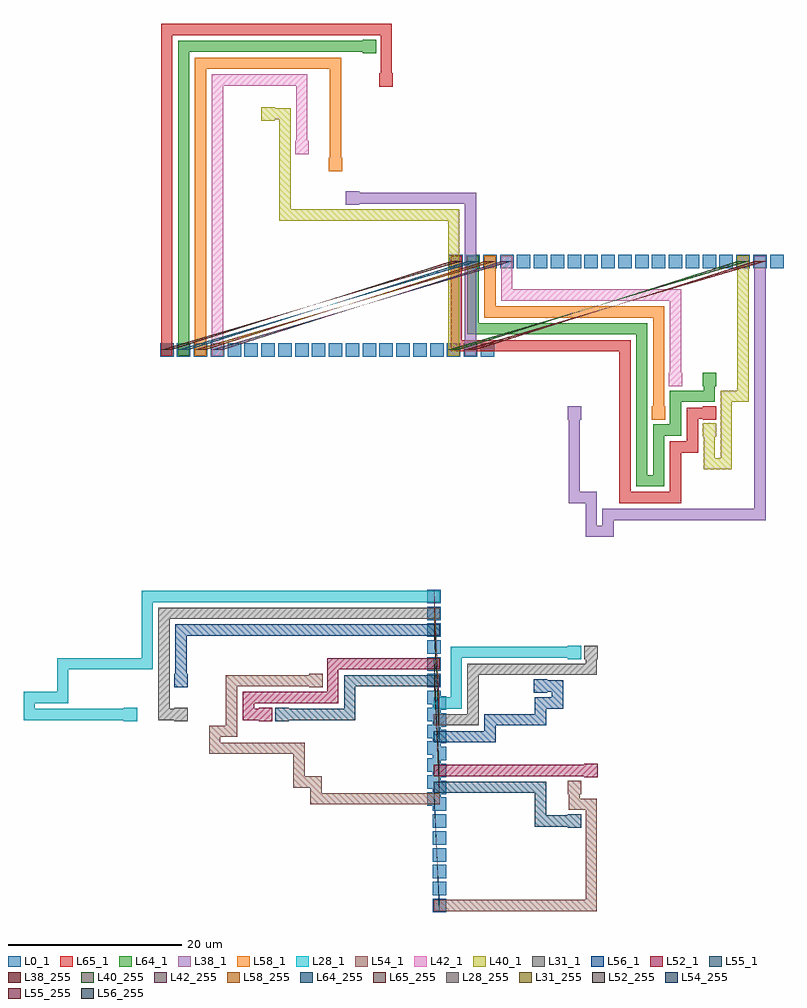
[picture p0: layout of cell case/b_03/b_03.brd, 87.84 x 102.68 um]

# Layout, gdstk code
import gdstk
lib = gdstk.Library(unit=1e-6, precision=2.5e-10)
def R(c, l, rs):  # rectangles x0, y0, x1, y1
    for r in rs: c.add(gdstk.rectangle(r[:2], r[2:], *l))
def A(c, l, x, y, w, h, nx, ny, dx, dy):  # array of equal rectangles
    R(c, l, [(x+i*dx, y+j*dy, x+i*dx+w, y+j*dy+h) for i in range(nx) for j in range(ny)])
def P(c, l, *ps):  # polygons
    for p in ps: c.add(gdstk.Polygon(p, *l))
L0_1 = (0, 1)
L28_1 = (28, 1)
L28_255 = (28, 255)
L31_1 = (31, 1)
L31_255 = (31, 255)
L38_1 = (38, 1)
L38_255 = (38, 255)
L40_1 = (40, 1)
L40_255 = (40, 255)
L42_1 = (42, 1)
L42_255 = (42, 255)
L52_1 = (52, 1)
L52_255 = (52, 255)
L54_1 = (54, 1)
L54_255 = (54, 255)
L55_1 = (55, 1)
L55_255 = (55, 255)
L56_1 = (56, 1)
L56_255 = (56, 255)
L58_1 = (58, 1)
L58_255 = (58, 255)
L64_1 = (64, 1)
L64_255 = (64, 255)
L65_1 = (65, 1)
L65_255 = (65, 255)

case_b_03_b_03_brd = lib.new_cell('case/b_03/b_03.brd')
R(case_b_03_b_03_brd, L0_1, [(90.874,399.122,92.434,400.682), (90.874,399.122,92.434,400.682), (90.874,399.122,92.434,400.682), (90.874,399.122,92.434,400.682), (90.874,399.122,92.434,400.682), (90.874,399.122,92.434,400.682), (90.874,401.072,92.434,402.632), (90.874,401.072,92.434,402.632), (90.874,401.072,92.434,402.632), (90.874,401.072,92.434,402.632), (90.874,401.072,92.434,402.632), (90.874,401.072,92.434,402.632), (90.874,403.022,92.434,404.582), (90.874,403.022,92.434,404.582), (90.874,403.022,92.434,404.582), (90.874,403.022,92.434,404.582), (90.874,403.022,92.434,404.582), (90.874,403.022,92.434,404.582), (90.874,404.972,92.434,406.532), (90.874,404.972,92.434,406.532), (90.874,404.972,92.434,406.532), (90.874,404.972,92.434,406.532), (90.874,404.972,92.434,406.532), (90.874,404.972,92.434,406.532), (90.874,406.922,92.434,408.482), (90.874,406.922,92.434,408.482), (90.874,406.922,92.434,408.482), (90.874,406.922,92.434,408.482), (90.874,406.922,92.434,408.482), (90.874,406.922,92.434,408.482), (90.874,408.872,92.434,410.432), (90.874,408.872,92.434,410.432), (90.874,408.872,92.434,410.432), (90.874,408.872,92.434,410.432), (90.874,408.872,92.434,410.432), (90.874,408.872,92.434,410.432), (90.874,410.822,92.434,412.382), (90.874,410.822,92.434,412.382), (90.874,410.822,92.434,412.382), (90.874,410.822,92.434,412.382), (90.874,410.822,92.434,412.382), (90.874,410.822,92.434,412.382), (90.269,411.443,91.829,413.003), (90.269,411.443,91.829,413.003), (90.269,411.443,91.829,413.003), (90.269,411.443,91.829,413.003), (90.269,411.443,91.829,413.003), (90.269,411.443,91.829,413.003), (90.874,412.772,92.434,414.332), (90.874,412.772,92.434,414.332), (90.874,412.772,92.434,414.332), (90.874,412.772,92.434,414.332), (90.874,412.772,92.434,414.332), (90.874,412.772,92.434,414.332), (90.269,413.393,91.829,414.953), (90.269,413.393,91.829,414.953), (90.269,413.393,91.829,414.953), (90.269,413.393,91.829,414.953), (90.269,413.393,91.829,414.953), (90.269,413.393,91.829,414.953), (90.874,414.722,92.434,416.282), (90.874,414.722,92.434,416.282), (90.874,414.722,92.434,416.282), (90.874,414.722,92.434,416.282), (90.874,414.722,92.434,416.282), (90.874,414.722,92.434,416.282), (90.269,415.343,91.829,416.903), (90.269,415.343,91.829,416.903), (90.269,415.343,91.829,416.903), (90.269,415.343,91.829,416.903), (90.269,415.343,91.829,416.903), (90.269,415.343,91.829,416.903), (90.874,416.672,92.434,418.232), (90.874,416.672,92.434,418.232), (90.874,416.672,92.434,418.232), (90.874,416.672,92.434,418.232), (90.874,416.672,92.434,418.232), (90.874,416.672,92.434,418.232), (90.269,417.293,91.829,418.853), (90.269,417.293,91.829,418.853), (90.269,417.293,91.829,418.853), (90.269,417.293,91.829,418.853), (90.269,417.293,91.829,418.853), (90.269,417.293,91.829,418.853), (90.874,418.622,92.434,420.182), (90.874,418.622,92.434,420.182), (90.874,418.622,92.434,420.182), (90.874,418.622,92.434,420.182), (90.874,418.622,92.434,420.182), (90.874,418.622,92.434,420.182), (90.269,419.243,91.829,420.803), (90.269,419.243,91.829,420.803), (90.269,419.243,91.829,420.803), (90.269,419.243,91.829,420.803), (90.269,419.243,91.829,420.803), (90.269,419.243,91.829,420.803), (90.874,420.572,92.434,422.132), (90.874,420.572,92.434,422.132), (90.874,420.572,92.434,422.132), (90.874,420.572,92.434,422.132), (90.874,420.572,92.434,422.132), (90.874,420.572,92.434,422.132), (90.269,421.193,91.829,422.753), (90.269,421.193,91.829,422.753), (90.269,421.193,91.829,422.753), (90.269,421.193,91.829,422.753), (90.269,421.193,91.829,422.753), (90.269,421.193,91.829,422.753), (90.874,422.522,92.434,424.082), (90.874,422.522,92.434,424.082), (90.874,422.522,92.434,424.082), (90.874,422.522,92.434,424.082), (90.874,422.522,92.434,424.082), (90.874,422.522,92.434,424.082), (90.269,423.143,91.829,424.703), (90.269,423.143,91.829,424.703), (90.269,423.143,91.829,424.703), (90.269,423.143,91.829,424.703), (90.269,423.143,91.829,424.703), (90.269,423.143,91.829,424.703), (90.269,425.093,91.829,426.653), (90.269,425.093,91.829,426.653), (90.269,425.093,91.829,426.653), (90.269,425.093,91.829,426.653), (90.269,425.093,91.829,426.653), (90.269,425.093,91.829,426.653), (90.269,427.043,91.829,428.603), (90.269,427.043,91.829,428.603), (90.269,427.043,91.829,428.603), (90.269,427.043,91.829,428.603), (90.269,427.043,91.829,428.603), (90.269,427.043,91.829,428.603), (90.269,428.993,91.829,430.553), (90.269,428.993,91.829,430.553), (90.269,428.993,91.829,430.553), (90.269,428.993,91.829,430.553), (90.269,428.993,91.829,430.553), (90.269,428.993,91.829,430.553), (90.269,430.943,91.829,432.503), (90.269,430.943,91.829,432.503), (90.269,430.943,91.829,432.503), (90.269,430.943,91.829,432.503), (90.269,430.943,91.829,432.503), (90.269,430.943,91.829,432.503), (90.269,432.893,91.829,434.453), (90.269,432.893,91.829,434.453), (90.269,432.893,91.829,434.453), (90.269,432.893,91.829,434.453), (90.269,432.893,91.829,434.453), (90.269,432.893,91.829,434.453), (90.269,434.843,91.829,436.403), (90.269,434.843,91.829,436.403), (90.269,434.843,91.829,436.403), (90.269,434.843,91.829,436.403), (90.269,434.843,91.829,436.403), (90.269,434.843,91.829,436.403), (59.383,463.318,60.943,464.878), (59.383,463.318,60.943,464.878), (59.383,463.318,60.943,464.878), (59.383,463.318,60.943,464.878), (59.383,463.318,60.943,464.878), (59.383,463.318,60.943,464.878), (61.333,463.318,62.893,464.878), (61.333,463.318,62.893,464.878), (61.333,463.318,62.893,464.878), (61.333,463.318,62.893,464.878), (61.333,463.318,62.893,464.878), (61.333,463.318,62.893,464.878), (63.283,463.318,64.843,464.878), (63.283,463.318,64.843,464.878), (63.283,463.318,64.843,464.878), (63.283,463.318,64.843,464.878), (63.283,463.318,64.843,464.878), (63.283,463.318,64.843,464.878), (65.233,463.318,66.793,464.878), (65.233,463.318,66.793,464.878), (65.233,463.318,66.793,464.878), (65.233,463.318,66.793,464.878), (65.233,463.318,66.793,464.878), (65.233,463.318,66.793,464.878), (67.183,463.318,68.743,464.878), (67.183,463.318,68.743,464.878), (67.183,463.318,68.743,464.878), (67.183,463.318,68.743,464.878), (67.183,463.318,68.743,464.878), (67.183,463.318,68.743,464.878), (69.133,463.318,70.693,464.878), (69.133,463.318,70.693,464.878), (69.133,463.318,70.693,464.878), (69.133,463.318,70.693,464.878), (69.133,463.318,70.693,464.878), (69.133,463.318,70.693,464.878), (71.083,463.318,72.643,464.878), (71.083,463.318,72.643,464.878), (71.083,463.318,72.643,464.878), (71.083,463.318,72.643,464.878), (71.083,463.318,72.643,464.878), (71.083,463.318,72.643,464.878), (73.033,463.318,74.593,464.878), (73.033,463.318,74.593,464.878), (73.033,463.318,74.593,464.878), (73.033,463.318,74.593,464.878), (73.033,463.318,74.593,464.878), (73.033,463.318,74.593,464.878), (74.983,463.318,76.543,464.878), (74.983,463.318,76.543,464.878), (74.983,463.318,76.543,464.878), (74.983,463.318,76.543,464.878), (74.983,463.318,76.543,464.878), (74.983,463.318,76.543,464.878), (76.933,463.318,78.493,464.878), (76.933,463.318,78.493,464.878), (76.933,463.318,78.493,464.878), (76.933,463.318,78.493,464.878), (76.933,463.318,78.493,464.878), (76.933,463.318,78.493,464.878), (78.883,463.318,80.443,464.878), (78.883,463.318,80.443,464.878), (78.883,463.318,80.443,464.878), (78.883,463.318,80.443,464.878), (78.883,463.318,80.443,464.878), (78.883,463.318,80.443,464.878), (80.833,463.318,82.393,464.878), (80.833,463.318,82.393,464.878), (80.833,463.318,82.393,464.878), (80.833,463.318,82.393,464.878), (80.833,463.318,82.393,464.878), (80.833,463.318,82.393,464.878), (82.783,463.318,84.343,464.878), (82.783,463.318,84.343,464.878), (82.783,463.318,84.343,464.878), (82.783,463.318,84.343,464.878), (82.783,463.318,84.343,464.878), (82.783,463.318,84.343,464.878), (84.733,463.318,86.293,464.878), (84.733,463.318,86.293,464.878), (84.733,463.318,86.293,464.878), (84.733,463.318,86.293,464.878), (84.733,463.318,86.293,464.878), (84.733,463.318,86.293,464.878), (86.683,463.318,88.243,464.878), (86.683,463.318,88.243,464.878), (86.683,463.318,88.243,464.878), (86.683,463.318,88.243,464.878), (86.683,463.318,88.243,464.878), (86.683,463.318,88.243,464.878), (88.633,463.318,90.193,464.878), (88.633,463.318,90.193,464.878), (88.633,463.318,90.193,464.878), (88.633,463.318,90.193,464.878), (88.633,463.318,90.193,464.878), (88.633,463.318,90.193,464.878), (90.583,463.318,92.143,464.878), (90.583,463.318,92.143,464.878), (90.583,463.318,92.143,464.878), (90.583,463.318,92.143,464.878), (90.583,463.318,92.143,464.878), (90.583,463.318,92.143,464.878), (92.533,463.318,94.093,464.878), (92.533,463.318,94.093,464.878), (92.533,463.318,94.093,464.878), (92.533,463.318,94.093,464.878), (92.533,463.318,94.093,464.878), (92.533,463.318,94.093,464.878), (94.483,463.318,96.043,464.878), (94.483,463.318,96.043,464.878), (94.483,463.318,96.043,464.878), (94.483,463.318,96.043,464.878), (94.483,463.318,96.043,464.878), (94.483,463.318,96.043,464.878), (96.433,463.318,97.993,464.878), (96.433,463.318,97.993,464.878), (96.433,463.318,97.993,464.878), (96.433,463.318,97.993,464.878), (96.433,463.318,97.993,464.878), (96.433,463.318,97.993,464.878), (92.824,473.566,94.384,475.126), (92.824,473.566,94.384,475.126), (92.824,473.566,94.384,475.126), (92.824,473.566,94.384,475.126), (92.824,473.566,94.384,475.126), (92.824,473.566,94.384,475.126), (94.774,473.566,96.334,475.126), (94.774,473.566,96.334,475.126), (94.774,473.566,96.334,475.126), (94.774,473.566,96.334,475.126), (94.774,473.566,96.334,475.126), (94.774,473.566,96.334,475.126), (96.724,473.566,98.284,475.126), (96.724,473.566,98.284,475.126), (96.724,473.566,98.284,475.126), (96.724,473.566,98.284,475.126), (96.724,473.566,98.284,475.126), (96.724,473.566,98.284,475.126), (98.674,473.566,100.234,475.126), (98.674,473.566,100.234,475.126), (98.674,473.566,100.234,475.126), (98.674,473.566,100.234,475.126), (98.674,473.566,100.234,475.126), (98.674,473.566,100.234,475.126), (100.624,473.566,102.184,475.126), (100.624,473.566,102.184,475.126), (100.624,473.566,102.184,475.126), (100.624,473.566,102.184,475.126), (100.624,473.566,102.184,475.126), (100.624,473.566,102.184,475.126), (102.574,473.566,104.134,475.126), (102.574,473.566,104.134,475.126), (102.574,473.566,104.134,475.126), (102.574,473.566,104.134,475.126), (102.574,473.566,104.134,475.126), (102.574,473.566,104.134,475.126), (104.524,473.566,106.084,475.126), (104.524,473.566,106.084,475.126), (104.524,473.566,106.084,475.126), (104.524,473.566,106.084,475.126), (104.524,473.566,106.084,475.126), (104.524,473.566,106.084,475.126), (106.474,473.566,108.034,475.126), (106.474,473.566,108.034,475.126), (106.474,473.566,108.034,475.126), (106.474,473.566,108.034,475.126), (106.474,473.566,108.034,475.126), (106.474,473.566,108.034,475.126), (108.424,473.566,109.984,475.126), (108.424,473.566,109.984,475.126), (108.424,473.566,109.984,475.126), (108.424,473.566,109.984,475.126), (108.424,473.566,109.984,475.126), (108.424,473.566,109.984,475.126), (110.374,473.566,111.934,475.126), (110.374,473.566,111.934,475.126), (110.374,473.566,111.934,475.126), (110.374,473.566,111.934,475.126), (110.374,473.566,111.934,475.126), (110.374,473.566,111.934,475.126), (112.324,473.566,113.884,475.126), (112.324,473.566,113.884,475.126), (112.324,473.566,113.884,475.126), (112.324,473.566,113.884,475.126), (112.324,473.566,113.884,475.126), (112.324,473.566,113.884,475.126), (114.274,473.566,115.834,475.126), (114.274,473.566,115.834,475.126), (114.274,473.566,115.834,475.126), (114.274,473.566,115.834,475.126), (114.274,473.566,115.834,475.126), (114.274,473.566,115.834,475.126), (116.224,473.566,117.784,475.126), (116.224,473.566,117.784,475.126), (116.224,473.566,117.784,475.126), (116.224,473.566,117.784,475.126), (116.224,473.566,117.784,475.126), (116.224,473.566,117.784,475.126), (118.174,473.566,119.734,475.126), (118.174,473.566,119.734,475.126), (118.174,473.566,119.734,475.126), (118.174,473.566,119.734,475.126), (118.174,473.566,119.734,475.126), (118.174,473.566,119.734,475.126), (120.124,473.566,121.684,475.126), (120.124,473.566,121.684,475.126), (120.124,473.566,121.684,475.126), (120.124,473.566,121.684,475.126), (120.124,473.566,121.684,475.126), (120.124,473.566,121.684,475.126), (122.074,473.566,123.634,475.126), (122.074,473.566,123.634,475.126), (122.074,473.566,123.634,475.126), (122.074,473.566,123.634,475.126), (122.074,473.566,123.634,475.126), (122.074,473.566,123.634,475.126), (124.024,473.566,125.584,475.126), (124.024,473.566,125.584,475.126), (124.024,473.566,125.584,475.126), (124.024,473.566,125.584,475.126), (124.024,473.566,125.584,475.126), (124.024,473.566,125.584,475.126), (125.974,473.566,127.534,475.126), (125.974,473.566,127.534,475.126), (125.974,473.566,127.534,475.126), (125.974,473.566,127.534,475.126), (125.974,473.566,127.534,475.126), (125.974,473.566,127.534,475.126), (127.924,473.566,129.484,475.126), (127.924,473.566,129.484,475.126), (127.924,473.566,129.484,475.126), (127.924,473.566,129.484,475.126), (127.924,473.566,129.484,475.126), (127.924,473.566,129.484,475.126), (129.874,473.566,131.434,475.126), (129.874,473.566,131.434,475.126), (129.874,473.566,131.434,475.126), (129.874,473.566,131.434,475.126), (129.874,473.566,131.434,475.126), (129.874,473.566,131.434,475.126)])
A(case_b_03_b_03_brd, L28_1, 43.599, 421.323, 3.25, 1.3, 6, 1, 1.95, 0)
A(case_b_03_b_03_brd, L28_1, 92.954, 422.652, 1.3, 3.25, 1, 3, 0, 1.95)
A(case_b_03_b_03_brd, L28_1, 47.499, 427.173, 3.25, 1.3, 5, 1, 1.95, 0)
A(case_b_03_b_03_brd, L28_1, 57.249, 427.173, 1.3, 3.25, 1, 4, 0, 1.95)
A(case_b_03_b_03_brd, L28_1, 92.954, 428.502, 3.25, 1.3, 7, 1, 1.95, 0)
A(case_b_03_b_03_brd, L28_1, 57.249, 434.973, 3.25, 1.3, 17, 1, 1.95, 0)
R(case_b_03_b_03_brd, L28_1, [(55.169,421.193,56.729,422.753), (43.599,421.323,44.899,424.573), (91.004,422.652,94.254,423.952), (43.599,423.273,46.849,424.573), (45.549,423.273,48.799,424.573), (47.499,423.273,48.799,426.523), (47.499,425.223,48.799,428.473), (106.474,428.372,108.034,429.932)])
P(case_b_03_b_03_brd, L28_255, [(91.654,422.652),(91.654,423.952),(91.049,434.973),(91.049,436.273)])
A(case_b_03_b_03_brd, L31_1, 94.904, 420.702, 1.3, 3.25, 1, 3, 0, 1.95)
A(case_b_03_b_03_brd, L31_1, 59.199, 421.323, 1.3, 3.25, 1, 6, 0, 1.95)
A(case_b_03_b_03_brd, L31_1, 94.904, 426.552, 3.25, 1.3, 7, 1, 1.95, 0)
A(case_b_03_b_03_brd, L31_1, 59.199, 433.023, 3.25, 1.3, 16, 1, 1.95, 0)
R(case_b_03_b_03_brd, L31_1, [(91.004,420.702,94.254,422.002), (92.954,420.702,96.204,422.002), (61.019,421.193,62.579,422.753), (59.199,421.323,62.449,422.623), (108.554,426.552,109.854,429.802), (108.424,428.372,109.984,429.932)])
P(case_b_03_b_03_brd, L31_255, [(91.654,420.702),(91.654,422.002),(91.049,433.023),(91.049,434.323)])
A(case_b_03_b_03_brd, L38_1, 110.504, 444.446, 3.25, 1.3, 9, 1, 1.95, 0)
A(case_b_03_b_03_brd, L38_1, 128.054, 444.446, 1.3, 3.25, 1, 15, 0, 1.95)
A(case_b_03_b_03_brd, L38_1, 106.604, 446.396, 1.3, 3.25, 1, 5, 0, 1.95)
A(case_b_03_b_03_brd, L38_1, 94.613, 463.448, 1.3, 3.25, 1, 9, 0, 1.95)
A(case_b_03_b_03_brd, L38_1, 80.963, 480.998, 3.25, 1.3, 7, 1, 1.95, 0)
R(case_b_03_b_03_brd, L38_1, [(108.554,442.496,111.804,443.796), (108.554,442.496,109.854,445.746), (110.504,442.496,111.804,445.746), (108.554,444.446,109.854,447.696), (106.604,446.396,109.854,447.696), (106.474,456.016,108.034,457.576), (80.833,480.868,82.393,482.428)])
P(case_b_03_b_03_brd, L38_255, [(94.613,464.098),(95.913,464.098),(128.054,474.346),(129.354,474.346)])
A(case_b_03_b_03_brd, L40_1, 124.154, 450.296, 1.3, 3.25, 1, 4, 0, 1.95)
A(case_b_03_b_03_brd, L40_1, 126.104, 458.096, 1.3, 3.25, 1, 8, 0, 1.95)
A(case_b_03_b_03_brd, L40_1, 92.663, 463.448, 1.3, 3.25, 1, 8, 0, 1.95)
A(case_b_03_b_03_brd, L40_1, 73.163, 479.048, 3.25, 1.3, 10, 1, 1.95, 0)
A(case_b_03_b_03_brd, L40_1, 73.163, 479.048, 1.3, 3.25, 1, 6, 0, 1.95)
R(case_b_03_b_03_brd, L40_1, [(122.204,450.296,125.454,451.596), (122.204,450.296,123.504,453.546), (122.204,452.246,123.504,455.496), (122.074,454.066,123.634,455.626), (124.154,458.096,127.404,459.396), (71.083,490.618,72.643,492.178), (71.213,490.748,74.463,492.048)])
P(case_b_03_b_03_brd, L40_255, [(92.663,464.098),(93.963,464.098),(126.104,474.346),(127.404,474.346)])
A(case_b_03_b_03_brd, L42_1, 118.304, 460.046, 1.3, 3.25, 1, 5, 0, 1.95)
A(case_b_03_b_03_brd, L42_1, 65.363, 463.448, 1.3, 3.25, 1, 16, 0, 1.95)
A(case_b_03_b_03_brd, L42_1, 98.804, 469.796, 3.25, 1.3, 10, 1, 1.95, 0)
A(case_b_03_b_03_brd, L42_1, 75.113, 486.848, 1.3, 3.25, 1, 4, 0, 1.95)
A(case_b_03_b_03_brd, L42_1, 65.363, 494.648, 3.25, 1.3, 5, 1, 1.95, 0)
R(case_b_03_b_03_brd, L42_1, [(118.174,459.916,119.734,461.476), (98.804,469.796,100.104,473.046), (98.804,471.746,100.104,474.996), (74.983,486.718,76.543,488.278)])
P(case_b_03_b_03_brd, L42_255, [(65.363,464.098),(66.663,464.098),(98.804,474.346),(100.104,474.346)])
A(case_b_03_b_03_brd, L52_1, 91.004, 414.852, 3.25, 1.3, 9, 1, 1.95, 0)
A(case_b_03_b_03_brd, L52_1, 68.949, 423.273, 3.25, 1.3, 5, 1, 1.95, 0)
A(case_b_03_b_03_brd, L52_1, 78.699, 427.173, 3.25, 1.3, 6, 1, 1.95, 0)
R(case_b_03_b_03_brd, L52_1, [(108.424,414.722,109.984,416.282), (70.769,421.193,72.329,422.753), (68.949,421.323,72.199,422.623), (68.949,421.323,70.249,424.573), (78.699,423.273,79.999,426.523), (78.699,425.223,79.999,428.473)])
P(case_b_03_b_03_brd, L52_255, [(91.654,414.852),(91.654,416.152),(91.049,427.173),(91.049,428.473)])
A(case_b_03_b_03_brd, L54_1, 91.004, 399.252, 3.25, 1.3, 9, 1, 1.95, 0)
A(case_b_03_b_03_brd, L54_1, 108.554, 399.252, 1.3, 3.25, 1, 6, 0, 1.95)
A(case_b_03_b_03_brd, L54_1, 76.749, 411.573, 3.25, 1.3, 7, 1, 1.95, 0)
A(case_b_03_b_03_brd, L54_1, 65.049, 417.423, 3.25, 1.3, 5, 1, 1.95, 0)
A(case_b_03_b_03_brd, L54_1, 66.999, 419.373, 1.3, 3.25, 1, 3, 0, 1.95)
A(case_b_03_b_03_brd, L54_1, 66.999, 425.223, 3.25, 1.3, 5, 1, 1.95, 0)
R(case_b_03_b_03_brd, L54_1, [(106.604,410.952,109.854,412.252), (106.604,410.952,107.904,414.202), (76.749,411.573,78.049,414.823), (106.474,412.772,108.034,414.332), (74.799,413.523,78.049,414.823), (74.799,413.523,76.099,416.773), (74.799,415.473,76.099,418.723), (65.049,417.423,66.349,420.673), (65.049,419.373,68.299,420.673), (76.619,425.093,78.179,426.653)])
P(case_b_03_b_03_brd, L54_255, [(91.654,399.252),(91.654,400.552),(91.049,411.573),(91.049,412.873)])
A(case_b_03_b_03_brd, L55_1, 91.004, 412.902, 3.25, 1.3, 6, 1, 1.95, 0)
A(case_b_03_b_03_brd, L55_1, 72.849, 421.323, 3.25, 1.3, 4, 1, 1.95, 0)
A(case_b_03_b_03_brd, L55_1, 80.649, 425.223, 3.25, 1.3, 5, 1, 1.95, 0)
R(case_b_03_b_03_brd, L55_1, [(106.474,408.872,108.034,410.432), (102.704,409.002,105.954,410.302), (102.704,409.002,104.004,412.252), (104.654,409.002,107.904,410.302), (102.704,410.952,104.004,414.202), (72.719,421.193,74.279,422.753), (80.649,421.323,81.949,424.573), (80.649,423.273,81.949,426.523)])
P(case_b_03_b_03_brd, L55_255, [(91.654,412.902),(91.654,414.202),(91.049,425.223),(91.049,426.523)])
A(case_b_03_b_03_brd, L56_1, 91.004, 418.752, 3.25, 1.3, 3, 1, 1.95, 0)
A(case_b_03_b_03_brd, L56_1, 96.854, 420.702, 3.25, 1.3, 3, 1, 1.95, 0)
A(case_b_03_b_03_brd, L56_1, 61.149, 425.223, 1.3, 3.25, 1, 3, 0, 1.95)
A(case_b_03_b_03_brd, L56_1, 61.149, 431.073, 3.25, 1.3, 15, 1, 1.95, 0)
R(case_b_03_b_03_brd, L56_1, [(96.854,418.752,98.154,422.002), (102.704,420.702,104.004,423.952), (102.704,422.652,105.954,423.952), (104.654,422.652,105.954,425.902), (102.574,424.472,104.134,426.032), (102.704,424.602,105.954,425.902), (61.019,425.093,62.579,426.653)])
P(case_b_03_b_03_brd, L56_255, [(91.654,418.752),(91.654,420.052),(91.049,431.073),(91.049,432.373)])
A(case_b_03_b_03_brd, L58_1, 116.354, 456.146, 1.3, 3.25, 1, 6, 0, 1.95)
A(case_b_03_b_03_brd, L58_1, 63.413, 463.448, 1.3, 3.25, 1, 17, 0, 1.95)
A(case_b_03_b_03_brd, L58_1, 96.854, 467.846, 3.25, 1.3, 10, 1, 1.95, 0)
A(case_b_03_b_03_brd, L58_1, 96.854, 467.846, 1.3, 3.25, 1, 3, 0, 1.95)
A(case_b_03_b_03_brd, L58_1, 79.013, 484.898, 1.3, 3.25, 1, 6, 0, 1.95)
A(case_b_03_b_03_brd, L58_1, 63.413, 496.598, 3.25, 1.3, 8, 1, 1.95, 0)
R(case_b_03_b_03_brd, L58_1, [(116.224,456.016,117.784,457.576), (78.883,484.768,80.443,486.328)])
P(case_b_03_b_03_brd, L58_255, [(63.413,464.098),(64.713,464.098),(96.854,474.346),(98.154,474.346)])
A(case_b_03_b_03_brd, L64_1, 114.404, 448.346, 1.3, 3.25, 1, 9, 0, 1.95)
A(case_b_03_b_03_brd, L64_1, 116.354, 448.346, 1.3, 3.25, 1, 3, 0, 1.95)
A(case_b_03_b_03_brd, L64_1, 61.463, 463.448, 1.3, 3.25, 1, 18, 0, 1.95)
A(case_b_03_b_03_brd, L64_1, 94.904, 465.896, 3.25, 1.3, 10, 1, 1.95, 0)
A(case_b_03_b_03_brd, L64_1, 94.904, 465.896, 1.3, 3.25, 1, 4, 0, 1.95)
A(case_b_03_b_03_brd, L64_1, 61.463, 498.548, 3.25, 1.3, 11, 1, 1.95, 0)
R(case_b_03_b_03_brd, L64_1, [(114.404,448.346,117.654,449.646), (116.354,454.196,119.604,455.496), (118.304,454.196,119.604,457.446), (118.304,456.146,119.604,459.396), (118.304,458.096,121.554,459.396), (120.254,458.096,123.504,459.396), (122.204,458.096,123.504,461.346), (122.074,459.916,123.634,461.476), (82.783,498.418,84.343,499.978)])
P(case_b_03_b_03_brd, L64_255, [(61.463,464.098),(62.763,464.098),(94.904,474.346),(96.204,474.346)])
A(case_b_03_b_03_brd, L65_1, 112.454, 446.396, 3.25, 1.3, 3, 1, 1.95, 0)
A(case_b_03_b_03_brd, L65_1, 112.454, 446.396, 1.3, 3.25, 1, 9, 0, 1.95)
A(case_b_03_b_03_brd, L65_1, 118.304, 446.396, 1.3, 3.25, 1, 3, 0, 1.95)
A(case_b_03_b_03_brd, L65_1, 59.513, 463.448, 1.3, 3.25, 1, 19, 0, 1.95)
A(case_b_03_b_03_brd, L65_1, 92.954, 463.946, 3.25, 1.3, 10, 1, 1.95, 0)
A(case_b_03_b_03_brd, L65_1, 92.954, 463.946, 1.3, 3.25, 1, 5, 0, 1.95)
A(case_b_03_b_03_brd, L65_1, 84.863, 494.648, 1.3, 3.25, 1, 3, 0, 1.95)
A(case_b_03_b_03_brd, L65_1, 59.513, 500.498, 3.25, 1.3, 13, 1, 1.95, 0)
R(case_b_03_b_03_brd, L65_1, [(118.304,452.246,121.554,453.546), (120.254,452.246,121.554,455.496), (120.254,454.196,121.554,457.446), (122.074,456.016,123.634,457.576), (120.254,456.146,123.504,457.446), (84.733,494.518,86.293,496.078)])
P(case_b_03_b_03_brd, L65_255, [(59.513,464.098),(60.813,464.098),(92.954,474.346),(94.254,474.346)])

lib.write_gds('case_b_03_b_03.brd.gds')
